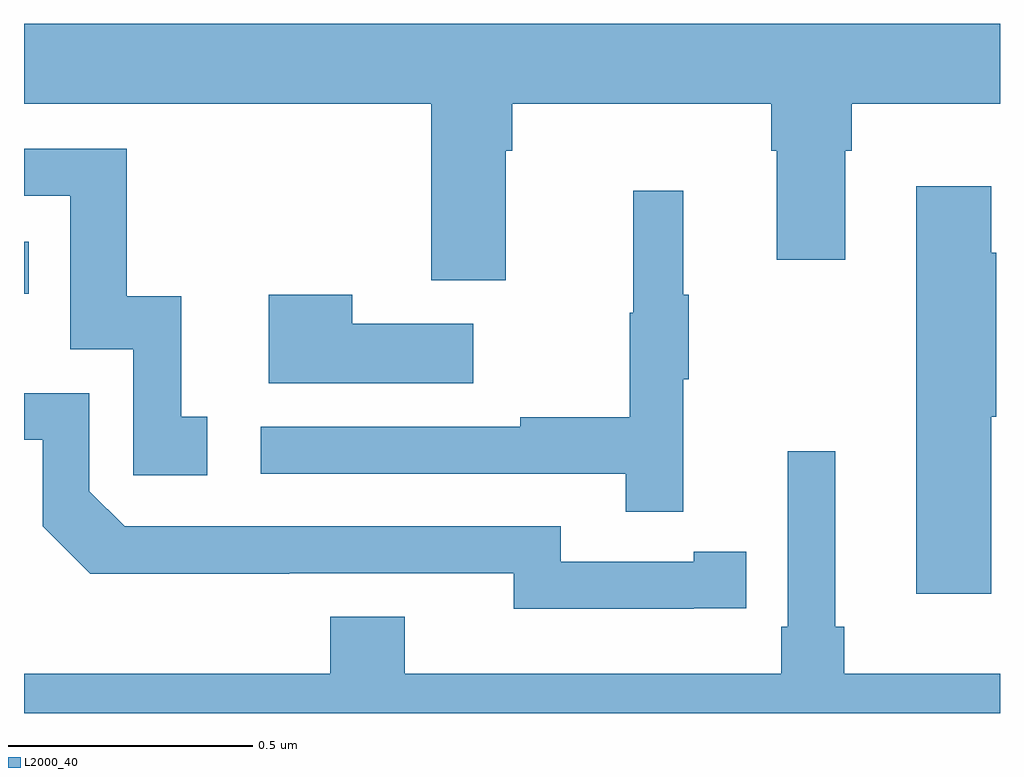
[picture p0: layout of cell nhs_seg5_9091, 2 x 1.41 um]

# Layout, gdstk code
import gdstk
lib = gdstk.Library(unit=1e-6, precision=1e-09)
def R(c, l, rs):  # rectangles x0, y0, x1, y1
    for r in rs: c.add(gdstk.rectangle(r[:2], r[2:], *l))
def P(c, l, *ps):  # polygons
    for p in ps: c.add(gdstk.Polygon(p, *l))
L2000_40 = (2000, 40)

nhs_seg5_9091 = lib.new_cell('nhs_seg5_9091')
R(nhs_seg5_9091, L2000_40, [(229,901.659,229.01,901.765)])
P(nhs_seg5_9091, L2000_40, [(229.987,901.952),(230,901.952),(230,902.048),(230.531,902.048),(230.531,901.952),(230.543,901.952),(230.543,901.728),(230.683,901.728),(230.683,901.952),(230.696,901.952),(230.696,902.048),(231,902.048),(231,902.212),(229,902.212),(229,902.048),(229.835,902.048),(229.835,901.686),(229.987,901.686)],
  [(229.375,901.407),(229.322,901.407),(229.322,901.654),(229.211,901.654),(229.211,901.956),(229,901.956),(229,901.86),(229.095,901.86),(229.095,901.545),(229.224,901.545),(229.224,901.287),(229.375,901.287)],
  [(230.982,901.407),(230.992,901.407),(230.992,901.743),(230.982,901.743),(230.982,901.879),(230.828,901.879),(230.828,901.044),(230.982,901.044)],
  [(230.351,901.483),(230.362,901.483),(230.362,901.657),(230.351,901.657),(230.351,901.87),(230.248,901.87),(230.248,901.62),(230.241,901.62),(230.241,901.406),(230.017,901.406),(230.017,901.386),(229.485,901.386),(229.485,901.29),(230.233,901.29),(230.233,901.212),(230.351,901.212)],
  [(229.921,901.597),(229.673,901.597),(229.673,901.657),(229.502,901.657),(229.502,901.475),(229.921,901.475)],
  [(230.372,901.014),(230.48,901.014),(230.48,901.13),(230.372,901.13),(230.372,901.11),(230.1,901.11),(230.1,901.182),(229.206,901.182),(229.134,901.254),(229.134,901.455),(229,901.455),(229,901.359),(229.038,901.359),(229.038,901.182),(229.136,901.085),(229.544,901.085),(229.544,901.086),(230.004,901.086),(230.004,901.013),(230.372,901.013)],
  [(231,900.88),(230.681,900.88),(230.681,900.976),(230.662,900.976),(230.662,901.336),(230.565,901.336),(230.565,900.976),(230.552,900.976),(230.552,900.88),(229.78,900.88),(229.78,900.997),(229.628,900.997),(229.628,900.88),(229,900.88),(229,900.799),(231,900.799)])

lib.write_gds('nhs_seg5_9091.gds')
